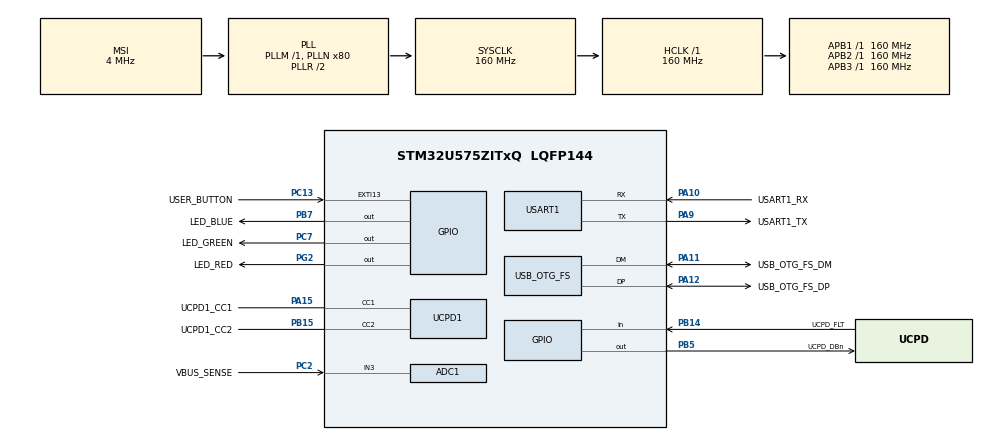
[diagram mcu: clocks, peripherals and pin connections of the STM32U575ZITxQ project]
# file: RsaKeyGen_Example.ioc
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ADC1.NbrOfConversion=1
ADC1.Resolution=ADC_RESOLUTION_14B
ADC1.master=1
CORTEX_M33_NS.userName=CORTEX_M33
Mcu.Family=STM32U5
Mcu.Name=STM32U575ZITxQ
Mcu.Package=LQFP144
NVIC.OTG_FS_IRQn=true\:0\:0\:false\:false\:true\:true\:true\:true
NVIC.PriorityGroup=NVIC_PRIORITYGROUP_3
NVIC.RNG_IRQn=true\:0\:0\:false\:false\:true\:true\:true\:true
PA10.GPIO_Label=USART1_RX
PA10.GPIO_PuPd=GPIO_PULLDOWN
PA10.GPIO_Speed=GPIO_SPEED_FREQ_VERY_HIGH
PA10.Mode=Asynchronous
PA10.Signal=USART1_RX
PA11.GPIO_Label=USB_OTG_FS_DM
PA11.GPIO_Speed=GPIO_SPEED_FREQ_VERY_HIGH
PA11.Mode=Device_Only
PA11.Signal=USB_OTG_FS_DM
PA12.GPIO_Label=USB_OTG_FS_DP
PA12.GPIO_Speed=GPIO_SPEED_FREQ_VERY_HIGH
PA12.Mode=Device_Only
PA12.Signal=USB_OTG_FS_DP
PA13\ (JTMS/SWDIO).Mode=Trace_Asynchronous_SW
PA13\ (JTMS/SWDIO).Signal=DEBUG_JTMS-SWDIO
PA14\ (JTCK/SWCLK).Mode=Trace_Asynchronous_SW
PA14\ (JTCK/SWCLK).Signal=DEBUG_JTCK-SWCLK
PA15\ (JTDI).GPIO_Label=UCPD1_CC1
PA15\ (JTDI).Mode=Sink_AllSignals
PA15\ (JTDI).Signal=UCPD1_CC1
PA9.GPIO_Label=USART1_TX
PA9.GPIO_PuPd=GPIO_PULLDOWN
PA9.GPIO_Speed=GPIO_SPEED_FREQ_VERY_HIGH
PA9.Mode=Asynchronous
PA9.Signal=USART1_TX
PB14.GPIO_Label=UCPD_FLT
PB14.Signal=GPIO_Input
PB15.GPIO_Label=UCPD1_CC2
PB15.Mode=Sink_AllSignals
PB15.Signal=UCPD1_CC2
PB3\ (JTDO/TRACESWO).Mode=Trace_Asynchronous_SW
PB3\ (JTDO/TRACESWO).Signal=DEBUG_JTDO-SWO
PB5.GPIO_Label=UCPD_DBn
PB5.Signal=GPIO_Output
PB7.GPIO_Label=LED_BLUE
PB7.GPIO_ModeDefaultOutputPP=GPIO_MODE_OUTPUT_PP
PB7.GPIO_PuPd=GPIO_PULLUP
PB7.GPIO_Speed=GPIO_SPEED_FREQ_HIGH
PB7.Signal=GPIO_Output
PC13.GPIO_Label=USER_BUTTON
PC13.GPIO_ModeDefaultEXTI=GPIO_MODE_IT_FALLING
PC13.Signal=GPXTI13
PC14-OSC32_IN\ (PC14).Mode=LSE-External-Oscillator
PC14-OSC32_IN\ (PC14).Signal=RCC_OSC32_IN
PC15-OSC32_OUT\ (PC15).Mode=LSE-External-Oscillator
PC15-OSC32_OUT\ (PC15).Signal=RCC_OSC32_OUT
PC2.GPIO_Label=VBUS_SENSE
PC2.Mode=IN3-Single-Ended
PC2.Signal=ADC1_IN3
PC7.GPIO_Label=LED_GREEN
PC7.GPIO_PuPd=GPIO_PULLUP
PC7.GPIO_Speed=GPIO_SPEED_FREQ_HIGH
PC7.Signal=GPIO_Output
PG2.GPIO_Label=LED_RED
PG2.GPIO_ModeDefaultOutputPP=GPIO_MODE_OUTPUT_PP
PG2.GPIO_PuPd=GPIO_PULLUP
PG2.GPIO_Speed=GPIO_SPEED_FREQ_HIGH
PG2.Signal=GPIO_Output
PWR.PowerMode=PWR_SMPS_SUPPLY
ProjectManager.HeapSize=0x200
ProjectManager.StackSize=0x400
ProjectManager.TargetToolchain=STM32CubeIDE
RCC.ADCFreq_Value=16000000
RCC.AHBFreq_Value=160000000
RCC.APB1Freq_Value=160000000
RCC.APB1TimFreq_Value=160000000
RCC.APB2Freq_Value=160000000
RCC.APB2TimFreq_Value=160000000
RCC.APB3Freq_Value=160000000
RCC.CortexFreq_Value=160000000
RCC.DACCLockSelectionVirtual=RCC_DAC1CLKSOURCE_LSI
RCC.EPOD_VALUE=4000000
RCC.HCLKFreq_Value=160000000
RCC.HSE_VALUE=16000000
RCC.HSI48_VALUE=48000000
RCC.HSI_VALUE=16000000
RCC.LSIDIV_VALUE=32000
RCC.MSI_VALUE=4000000
RCC.PLLN=80
RCC.SYSCLKFreq_VALUE=160000000
RCC.SYSCLKSource=RCC_SYSCLKSOURCE_PLLCLK
RCC.USBFreq_Value=48000000
RCC.VCOOutputFreq_Value=320000000
USART1.VirtualMode-Asynchronous=VM_ASYNC
USB_OTG_FS.VirtualMode=Device_Only
VP_ICACHE_VS_ENABLE_ICACHE_MEMORY.Mode=Memoryregions
VP_ICACHE_VS_ICACHE.Mode=DirectMappedCache
VP_LPBAMQUEUE_VS_QUEUE.Mode=QUEUEMODE
VP_LPBAM_VS_SIG1.Mode=SmartRun
VP_LPBAM_VS_SIG4.Mode=LPDMA1
VP_MEMORYMAP_VS_MEMORYMAP.Mode=CurAppReg
VP_PWR_VS_DBSignals.Mode=DisableDeadBatterySignals
VP_PWR_VS_LPOM.Mode=PowerOptimisation
VP_PWR_VS_SECSignals.Mode=Security/Privilege
VP_PWR_Vdda.Mode=isolationVdda
VP_RNG_VS_RNG.Mode=RNG_Activate
VP_wolfSSL.I-CUBE-wolfSSL_VS_wolfSSLJjwolfSSL_5.7.2_5.7.2.Mode=wolfSSLJjwolfSSL
board=NUCLEO-U575ZI-Q
wolfSSL.I-CUBE-wolfSSL.5.7.2.wolfSSLCcwolfSSLJjwolfCryptJjCore=true
wolfSSL.I-CUBE-wolfSSL.5.7.2.wolfSSLCcwolfSSLJjwolfCryptJjTest=true
wolfSSL.I-CUBE-wolfSSL.5.7.2.wolfSSLCcwolfSSLJjwolfSSLJjCore=true

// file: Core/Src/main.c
/* USER CODE BEGIN Header */
/**
  ******************************************************************************
  * @file           : main.c
  * @brief          : Main program body
  ******************************************************************************
  * @attention
  *
  * Copyright (c) 2024 STMicroelectronics.
  * All rights reserved.
  *
  * This software is licensed under terms that can be found in the LICENSE file
  * in the root directory of this software component.
  * If no LICENSE file comes with this software, it is provided AS-IS.
  *
  ******************************************************************************
  */
/* USER CODE END Header */
#include "main.h"
#include "wolfssl/wolfcrypt/rsa.h"
#include "wolfssl/wolfcrypt/random.h"
#include "wolfssl/wolfcrypt/error-crypt.h"

ADC_HandleTypeDef hadc1;

RNG_HandleTypeDef hrng;

UART_HandleTypeDef huart1;

PCD_HandleTypeDef hpcd_USB_OTG_FS;

void SystemClock_Config(void);
static void SystemPower_Config(void);
static void MX_GPIO_Init(void);
static void MX_ADC1_Init(void);
static void MX_ICACHE_Init(void);
static void MX_UCPD1_Init(void);
static void MX_USART1_UART_Init(void);
static void MX_USB_OTG_FS_PCD_Init(void);
static void MX_RNG_Init(void);
/* USER CODE BEGIN PFP */
void send_message(const char *msg);
/* USER CODE END PFP */

/* USER CODE BEGIN 0 */

void send_message(const char *msg) {
	HAL_UART_Transmit(&huart1, (uint8_t *) msg, strlen(msg), HAL_MAX_DELAY);
}
/* USER CODE END 0 */

int main(void)
{

  /* MCU Configuration--------------------------------------------------------*/

  /* Reset of all peripherals, Initializes the Flash interface and the Systick. */
  HAL_Init();

  /* Configure the system clock */
  SystemClock_Config();

  /* Configure the System Power */
  SystemPower_Config();

  /* Initialize all configured peripherals */
  MX_GPIO_Init();
  MX_ADC1_Init();
  MX_ICACHE_Init();
  MX_UCPD1_Init();
  MX_USART1_UART_Init();
  MX_USB_OTG_FS_PCD_Init();
  MX_RNG_Init();
  /* USER CODE BEGIN 2 */
  send_message("Welcome to RsaKeyGen_Example!\r\n");

  RsaKey priv;
  WC_RNG rng;
  int ret = 0;
  long e = 65537; // standard value to use for exponent

  // RsaKey and RNG initialization
  wc_InitRsaKey(&priv, NULL); // not using heap hint. No custom memory
  wc_InitRng(&rng);

  // generate 2048 bit long private key
  ret = wc_MakeRsaKey(&priv, 2048, e, &rng);
  if( ret != 0 ) {
	  send_message("There was an error in making RSA key\r\n");
  } else {
	  send_message("Your RSA key has been generated!\r\n");
  }

  // Saving into DER format
  byte *der;
  int derSize = 4096;

  ret = wc_RsaKeyToDer(&priv, der, derSize);

  /* USER CODE END 2 */

  /* Infinite loop */
  while (1)
  {

  }
}

void SystemClock_Config(void)
{
  RCC_OscInitTypeDef RCC_OscInitStruct = {0};
  RCC_ClkInitTypeDef RCC_ClkInitStruct = {0};

  /** Configure the main internal regulator output voltage
  */
  if (HAL_PWREx_ControlVoltageScaling(PWR_REGULATOR_VOLTAGE_SCALE1) != HAL_OK)
  {
    Error_Handler();
  }

  /** Initializes the CPU, AHB and APB buses clocks
  */
  RCC_OscInitStruct.OscillatorType = RCC_OSCILLATORTYPE_HSI48|RCC_OSCILLATORTYPE_HSI
                              |RCC_OSCILLATORTYPE_MSI;
  RCC_OscInitStruct.HSIState = RCC_HSI_ON;
  RCC_OscInitStruct.HSI48State = RCC_HSI48_ON;
  RCC_OscInitStruct.HSICalibrationValue = RCC_HSICALIBRATION_DEFAULT;
  RCC_OscInitStruct.MSIState = RCC_MSI_ON;
  RCC_OscInitStruct.MSICalibrationValue = RCC_MSICALIBRATION_DEFAULT;
  RCC_OscInitStruct.MSIClockRange = RCC_MSIRANGE_4;
  RCC_OscInitStruct.PLL.PLLState = RCC_PLL_ON;
  RCC_OscInitStruct.PLL.PLLSource = RCC_PLLSOURCE_MSI;
  RCC_OscInitStruct.PLL.PLLMBOOST = RCC_PLLMBOOST_DIV1;
  RCC_OscInitStruct.PLL.PLLM = 1;
  RCC_OscInitStruct.PLL.PLLN = 80;
  RCC_OscInitStruct.PLL.PLLP = 2;
  RCC_OscInitStruct.PLL.PLLQ = 2;
  RCC_OscInitStruct.PLL.PLLR = 2;
  RCC_OscInitStruct.PLL.PLLRGE = RCC_PLLVCIRANGE_0;
  RCC_OscInitStruct.PLL.PLLFRACN = 0;
  if (HAL_RCC_OscConfig(&RCC_OscInitStruct) != HAL_OK)
  {
    Error_Handler();
  }

  /** Initializes the CPU, AHB and APB buses clocks
  */
  RCC_ClkInitStruct.ClockType = RCC_CLOCKTYPE_HCLK|RCC_CLOCKTYPE_SYSCLK
                              |RCC_CLOCKTYPE_PCLK1|RCC_CLOCKTYPE_PCLK2
                              |RCC_CLOCKTYPE_PCLK3;
  RCC_ClkInitStruct.SYSCLKSource = RCC_SYSCLKSOURCE_PLLCLK;
  RCC_ClkInitStruct.AHBCLKDivider = RCC_SYSCLK_DIV1;
  RCC_ClkInitStruct.APB1CLKDivider = RCC_HCLK_DIV1;
  RCC_ClkInitStruct.APB2CLKDivider = RCC_HCLK_DIV1;
  RCC_ClkInitStruct.APB3CLKDivider = RCC_HCLK_DIV1;

  if (HAL_RCC_ClockConfig(&RCC_ClkInitStruct, FLASH_LATENCY_4) != HAL_OK)
  {
    Error_Handler();
  }
}

/**
  * @brief Power Configuration
  * @retval None
  */
static void SystemPower_Config(void)
{
  HAL_PWREx_EnableVddIO2();

  /*
   * Switch to SMPS regulator instead of LDO
   */
  if (HAL_PWREx_ConfigSupply(PWR_SMPS_SUPPLY) != HAL_OK)
  {
    Error_Handler();
  }
}

static void MX_ADC1_Init(void)
{

  /** Common config
  */
  hadc1.Instance = ADC1;
  hadc1.Init.ClockPrescaler = ADC_CLOCK_ASYNC_DIV1;
  hadc1.Init.Resolution = ADC_RESOLUTION_14B;
  hadc1.Init.GainCompensation = 0;
  hadc1.Init.ScanConvMode = ADC_SCAN_DISABLE;
  hadc1.Init.EOCSelection = ADC_EOC_SINGLE_CONV;
  hadc1.Init.LowPowerAutoWait = DISABLE;
  hadc1.Init.ContinuousConvMode = DISABLE;
  hadc1.Init.NbrOfConversion = 1;
  hadc1.Init.DiscontinuousConvMode = DISABLE;
  hadc1.Init.DMAContinuousRequests = DISABLE;
  hadc1.Init.TriggerFrequencyMode = ADC_TRIGGER_FREQ_HIGH;
  hadc1.Init.Overrun = ADC_OVR_DATA_PRESERVED;
  hadc1.Init.LeftBitShift = ADC_LEFTBITSHIFT_NONE;
  hadc1.Init.ConversionDataManagement = ADC_CONVERSIONDATA_DR;
  hadc1.Init.OversamplingMode = DISABLE;
  if (HAL_ADC_Init(&hadc1) != HAL_OK)
  {
    Error_Handler();
  }

}

static void MX_ICACHE_Init(void)
{

  /** Enable instruction cache in 1-way (direct mapped cache)
  */
  if (HAL_ICACHE_ConfigAssociativityMode(ICACHE_1WAY) != HAL_OK)
  {
    Error_Handler();
  }
  if (HAL_ICACHE_Enable() != HAL_OK)
  {
    Error_Handler();
  }

}

static void MX_RNG_Init(void)
{

  hrng.Instance = RNG;
  hrng.Init.ClockErrorDetection = RNG_CED_ENABLE;
  if (HAL_RNG_Init(&hrng) != HAL_OK)
  {
    Error_Handler();
  }

}

static void MX_UCPD1_Init(void)
{

  LL_GPIO_InitTypeDef GPIO_InitStruct = {0};

  /* Peripheral clock enable */
  LL_APB1_GRP2_EnableClock(LL_APB1_GRP2_PERIPH_UCPD1);

  LL_AHB2_GRP1_EnableClock(LL_AHB2_GRP1_PERIPH_GPIOB);
  LL_AHB2_GRP1_EnableClock(LL_AHB2_GRP1_PERIPH_GPIOA);
  /**UCPD1 GPIO Configuration
  PB15   ------> UCPD1_CC2
  PA15 (JTDI)   ------> UCPD1_CC1
  */
  GPIO_InitStruct.Pin = LL_GPIO_PIN_15;
  GPIO_InitStruct.Mode = LL_GPIO_MODE_ANALOG;
  GPIO_InitStruct.Pull = LL_GPIO_PULL_NO;
  LL_GPIO_Init(GPIOB, &GPIO_InitStruct);

  GPIO_InitStruct.Pin = LL_GPIO_PIN_15;
  GPIO_InitStruct.Mode = LL_GPIO_MODE_ANALOG;
  GPIO_InitStruct.Pull = LL_GPIO_PULL_NO;
  LL_GPIO_Init(GPIOA, &GPIO_InitStruct);

}

static void MX_USART1_UART_Init(void)
{

  huart1.Instance = USART1;
  huart1.Init.BaudRate = 115200;
  huart1.Init.WordLength = UART_WORDLENGTH_8B;
  huart1.Init.StopBits = UART_STOPBITS_1;
  huart1.Init.Parity = UART_PARITY_NONE;
  huart1.Init.Mode = UART_MODE_TX_RX;
  huart1.Init.HwFlowCtl = UART_HWCONTROL_NONE;
  huart1.Init.OverSampling = UART_OVERSAMPLING_16;
  huart1.Init.OneBitSampling = UART_ONE_BIT_SAMPLE_DISABLE;
  huart1.Init.ClockPrescaler = UART_PRESCALER_DIV1;
  huart1.AdvancedInit.AdvFeatureInit = UART_ADVFEATURE_NO_INIT;
  if (HAL_UART_Init(&huart1) != HAL_OK)
  {
    Error_Handler();
  }
  if (HAL_UARTEx_SetTxFifoThreshold(&huart1, UART_TXFIFO_THRESHOLD_1_8) != HAL_OK)
  {
    Error_Handler();
  }
  if (HAL_UARTEx_SetRxFifoThreshold(&huart1, UART_RXFIFO_THRESHOLD_1_8) != HAL_OK)
  {
    Error_Handler();
  }
  if (HAL_UARTEx_DisableFifoMode(&huart1) != HAL_OK)
  {
    Error_Handler();
  }

}

static void MX_USB_OTG_FS_PCD_Init(void)
{

  hpcd_USB_OTG_FS.Instance = USB_OTG_FS;
  hpcd_USB_OTG_FS.Init.dev_endpoints = 6;
  hpcd_USB_OTG_FS.Init.speed = PCD_SPEED_FULL;
  hpcd_USB_OTG_FS.Init.phy_itface = PCD_PHY_EMBEDDED;
  hpcd_USB_OTG_FS.Init.Sof_enable = DISABLE;
  hpcd_USB_OTG_FS.Init.low_power_enable = DISABLE;
  hpcd_USB_OTG_FS.Init.lpm_enable = DISABLE;
  hpcd_USB_OTG_FS.Init.battery_charging_enable = DISABLE;
  hpcd_USB_OTG_FS.Init.use_dedicated_ep1 = DISABLE;
  hpcd_USB_OTG_FS.Init.vbus_sensing_enable = DISABLE;
  hpcd_USB_OTG_FS.Init.dma_enable = DISABLE;
  if (HAL_PCD_Init(&hpcd_USB_OTG_FS) != HAL_OK)
  {
    Error_Handler();
  }

}

static void MX_GPIO_Init(void)
{
  GPIO_InitTypeDef GPIO_InitStruct = {0};

  /* GPIO Ports Clock Enable */
  __HAL_RCC_GPIOC_CLK_ENABLE();
  __HAL_RCC_GPIOB_CLK_ENABLE();
  __HAL_RCC_GPIOG_CLK_ENABLE();
  __HAL_RCC_GPIOA_CLK_ENABLE();

  /*Configure GPIO pin Output Level */
  HAL_GPIO_WritePin(LED_RED_GPIO_Port, LED_RED_Pin, GPIO_PIN_RESET);

  /*Configure GPIO pin Output Level */
  HAL_GPIO_WritePin(LED_GREEN_GPIO_Port, LED_GREEN_Pin, GPIO_PIN_RESET);

  /*Configure GPIO pin Output Level */
  HAL_GPIO_WritePin(GPIOB, UCPD_DBn_Pin|LED_BLUE_Pin, GPIO_PIN_RESET);

  /*Configure GPIO pin : USER_BUTTON_Pin */
  GPIO_InitStruct.Pin = USER_BUTTON_Pin;
  GPIO_InitStruct.Mode = GPIO_MODE_IT_FALLING;
  GPIO_InitStruct.Pull = GPIO_NOPULL;
  HAL_GPIO_Init(USER_BUTTON_GPIO_Port, &GPIO_InitStruct);

  /*Configure GPIO pin : UCPD_FLT_Pin */
  GPIO_InitStruct.Pin = UCPD_FLT_Pin;
  GPIO_InitStruct.Mode = GPIO_MODE_INPUT;
  GPIO_InitStruct.Pull = GPIO_NOPULL;
  HAL_GPIO_Init(UCPD_FLT_GPIO_Port, &GPIO_InitStruct);

  /*Configure GPIO pin : LED_RED_Pin */
  GPIO_InitStruct.Pin = LED_RED_Pin;
  GPIO_InitStruct.Mode = GPIO_MODE_OUTPUT_PP;
  GPIO_InitStruct.Pull = GPIO_PULLUP;
  GPIO_InitStruct.Speed = GPIO_SPEED_FREQ_HIGH;
  HAL_GPIO_Init(LED_RED_GPIO_Port, &GPIO_InitStruct);

  /*Configure GPIO pin : LED_GREEN_Pin */
  GPIO_InitStruct.Pin = LED_GREEN_Pin;
  GPIO_InitStruct.Mode = GPIO_MODE_OUTPUT_PP;
  GPIO_InitStruct.Pull = GPIO_PULLUP;
  GPIO_InitStruct.Speed = GPIO_SPEED_FREQ_HIGH;
  HAL_GPIO_Init(LED_GREEN_GPIO_Port, &GPIO_InitStruct);

  /*Configure GPIO pin : UCPD_DBn_Pin */
  GPIO_InitStruct.Pin = UCPD_DBn_Pin;
  GPIO_InitStruct.Mode = GPIO_MODE_OUTPUT_PP;
  GPIO_InitStruct.Pull = GPIO_NOPULL;
  GPIO_InitStruct.Speed = GPIO_SPEED_FREQ_LOW;
  HAL_GPIO_Init(UCPD_DBn_GPIO_Port, &GPIO_InitStruct);

  /*Configure GPIO pin : LED_BLUE_Pin */
  GPIO_InitStruct.Pin = LED_BLUE_Pin;
  GPIO_InitStruct.Mode = GPIO_MODE_OUTPUT_PP;
  GPIO_InitStruct.Pull = GPIO_PULLUP;
  GPIO_InitStruct.Speed = GPIO_SPEED_FREQ_HIGH;
  HAL_GPIO_Init(LED_BLUE_GPIO_Port, &GPIO_InitStruct);

}

void Error_Handler(void)
{
  __disable_irq();
  while (1)
  {
  }
}
